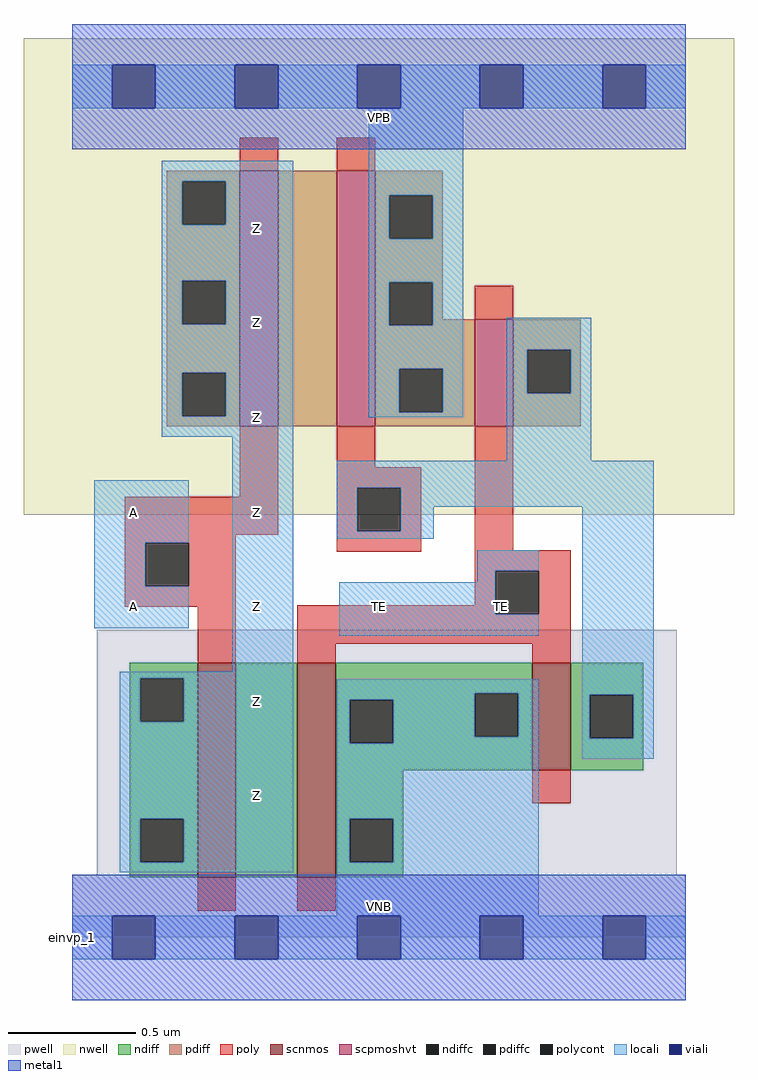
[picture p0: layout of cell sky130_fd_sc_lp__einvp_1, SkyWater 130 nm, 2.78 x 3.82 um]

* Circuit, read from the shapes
.subckt sky130_fd_sc_lp__einvp_1 A TE VGND VNB VPB VPWR Z
XM1 n1 A Z VNB sky130_fd_pr__nfet_01v8 w=0.84 l=0.15
XM2 VGND TE n1 VNB sky130_fd_pr__nfet_01v8 w=0.84 l=0.15
XM3 n2 TE VGND VNB sky130_fd_pr__nfet_01v8 w=0.42 l=0.15
XM4 n3 A Z VPB sky130_fd_pr__pfet_01v8_hvt w=1 l=0.15
XM5 VPWR n2 n3 VPB sky130_fd_pr__pfet_01v8_hvt w=1 l=0.15
XM6 n2 TE VPWR VPB sky130_fd_pr__pfet_01v8_hvt w=0.42 l=0.15
.ends

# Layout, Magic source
magic
tech sky130A
magscale 1 2
<< nwell >>
rect -38 331 518 704
<< pwell >>
rect 19 49 473 241
rect 0 0 480 49
<< scnmos >>
rect 98 47 128 215
rect 176 47 206 215
rect 360 131 390 215
<< scpmoshvt >>
rect 131 400 161 600
rect 207 400 237 600
rect 315 400 345 484
<< ndiff >>
rect 45 203 98 215
rect 45 169 53 203
rect 87 169 98 203
rect 45 93 98 169
rect 45 59 53 93
rect 87 59 98 93
rect 45 47 98 59
rect 128 47 176 215
rect 206 191 360 215
rect 206 186 315 191
rect 206 152 217 186
rect 251 157 315 186
rect 349 157 360 191
rect 251 152 360 157
rect 206 131 360 152
rect 390 190 447 215
rect 390 156 405 190
rect 439 156 447 190
rect 390 131 447 156
rect 206 93 259 131
rect 206 59 217 93
rect 251 59 259 93
rect 206 47 259 59
<< pdiff >>
rect 74 592 131 600
rect 74 558 86 592
rect 120 558 131 592
rect 74 514 131 558
rect 74 480 86 514
rect 120 480 131 514
rect 74 442 131 480
rect 74 408 86 442
rect 120 408 131 442
rect 74 400 131 408
rect 161 400 207 600
rect 237 581 290 600
rect 237 547 248 581
rect 282 547 290 581
rect 237 513 290 547
rect 237 479 248 513
rect 282 484 290 513
rect 282 479 315 484
rect 237 445 315 479
rect 237 411 256 445
rect 290 411 315 445
rect 237 400 315 411
rect 345 460 398 484
rect 345 426 356 460
rect 390 426 398 460
rect 345 400 398 426
<< ndiffc >>
rect 53 169 87 203
rect 53 59 87 93
rect 217 152 251 186
rect 315 157 349 191
rect 405 156 439 190
rect 217 59 251 93
<< pdiffc >>
rect 86 558 120 592
rect 86 480 120 514
rect 86 408 120 442
rect 248 547 282 581
rect 248 479 282 513
rect 256 411 290 445
rect 356 426 390 460
<< poly >>
rect 131 600 161 626
rect 207 600 237 626
rect 315 484 345 510
rect 131 345 161 400
rect 41 315 161 345
rect 207 368 237 400
rect 207 352 273 368
rect 207 318 223 352
rect 257 318 273 352
rect 41 309 128 315
rect 41 275 57 309
rect 91 275 128 309
rect 207 302 273 318
rect 315 303 345 400
rect 41 259 128 275
rect 315 287 390 303
rect 315 260 331 287
rect 98 215 128 259
rect 176 253 331 260
rect 365 253 390 287
rect 176 230 390 253
rect 176 215 206 230
rect 360 215 390 230
rect 360 105 390 131
rect 98 21 128 47
rect 176 21 206 47
<< polycont >>
rect 223 318 257 352
rect 57 275 91 309
rect 331 253 365 287
<< locali >>
rect 0 649 31 683
rect 65 649 127 683
rect 161 649 223 683
rect 257 649 319 683
rect 353 649 415 683
rect 449 649 480 683
rect 70 592 173 608
rect 70 558 86 592
rect 120 558 173 592
rect 70 514 173 558
rect 70 480 86 514
rect 120 480 173 514
rect 70 442 173 480
rect 70 408 86 442
rect 120 408 173 442
rect 70 392 173 408
rect 232 581 306 649
rect 232 547 248 581
rect 282 547 306 581
rect 232 513 306 547
rect 232 479 248 513
rect 282 479 306 513
rect 232 445 306 479
rect 232 411 256 445
rect 290 411 306 445
rect 232 407 306 411
rect 340 460 406 485
rect 340 426 356 460
rect 390 426 406 460
rect 17 309 91 358
rect 17 275 57 309
rect 17 242 91 275
rect 125 208 173 392
rect 340 373 406 426
rect 207 352 455 373
rect 207 318 223 352
rect 257 337 455 352
rect 257 318 283 337
rect 207 312 283 318
rect 317 287 365 303
rect 317 278 331 287
rect 209 253 331 278
rect 209 236 365 253
rect 37 203 173 208
rect 37 169 53 203
rect 87 169 173 203
rect 37 93 173 169
rect 37 59 53 93
rect 87 59 173 93
rect 37 51 173 59
rect 207 191 365 202
rect 207 186 315 191
rect 207 152 217 186
rect 251 157 315 186
rect 349 157 365 191
rect 251 152 365 157
rect 207 93 365 152
rect 399 190 455 337
rect 399 156 405 190
rect 439 156 455 190
rect 399 140 455 156
rect 207 59 217 93
rect 251 59 365 93
rect 207 17 365 59
rect 0 -17 31 17
rect 65 -17 127 17
rect 161 -17 223 17
rect 257 -17 319 17
rect 353 -17 415 17
rect 449 -17 480 17
<< viali >>
rect 31 649 65 683
rect 127 649 161 683
rect 223 649 257 683
rect 319 649 353 683
rect 415 649 449 683
rect 31 -17 65 17
rect 127 -17 161 17
rect 223 -17 257 17
rect 319 -17 353 17
rect 415 -17 449 17
<< metal1 >>
rect 0 683 480 715
rect 0 649 31 683
rect 65 649 127 683
rect 161 649 223 683
rect 257 649 319 683
rect 353 649 415 683
rect 449 649 480 683
rect 0 617 480 649
rect 0 17 480 49
rect 0 -17 31 17
rect 65 -17 127 17
rect 161 -17 223 17
rect 257 -17 319 17
rect 353 -17 415 17
rect 449 -17 480 17
rect 0 -49 480 -17
<< labels >>
flabel pwell s 0 0 480 49 0 FreeSans 200 0 0 0 VNB
port 4 nsew ground bidirectional
flabel nwell s 0 617 480 666 0 FreeSans 200 0 0 0 VPB
port 5 nsew power bidirectional
rlabel comment s 0 0 0 0 4 einvp_1
flabel metal1 s 0 617 480 666 0 FreeSans 340 0 0 0 VPWR
port 6 nsew power bidirectional
flabel metal1 s 0 0 480 49 0 FreeSans 340 0 0 0 VGND
port 3 nsew ground bidirectional
flabel locali s 319 242 353 276 0 FreeSans 340 0 0 0 TE
port 2 nsew signal input
flabel locali s 223 242 257 276 0 FreeSans 340 0 0 0 TE
port 2 nsew signal input
flabel locali s 127 94 161 128 0 FreeSans 340 0 0 0 Z
port 7 nsew signal output
flabel locali s 127 168 161 202 0 FreeSans 340 0 0 0 Z
port 7 nsew signal output
flabel locali s 127 242 161 276 0 FreeSans 340 0 0 0 Z
port 7 nsew signal output
flabel locali s 127 316 161 350 0 FreeSans 340 0 0 0 Z
port 7 nsew signal output
flabel locali s 127 390 161 424 0 FreeSans 340 0 0 0 Z
port 7 nsew signal output
flabel locali s 127 464 161 498 0 FreeSans 340 0 0 0 Z
port 7 nsew signal output
flabel locali s 127 538 161 572 0 FreeSans 340 0 0 0 Z
port 7 nsew signal output
flabel locali s 31 242 65 276 0 FreeSans 340 0 0 0 A
port 1 nsew signal input
flabel locali s 31 316 65 350 0 FreeSans 340 0 0 0 A
port 1 nsew signal input
<< properties >>
string LEFsite unit
string LEFclass CORE
string FIXED_BBOX 0 0 480 666
string GDS_FILE $PDKPATH/libs.ref/sky130_fd_sc_lp/gds/sky130_fd_sc_lp.gds
string LEFsymmetry X Y R90
string GDS_END 2831770
string GDS_START 2826418
<< end >>
